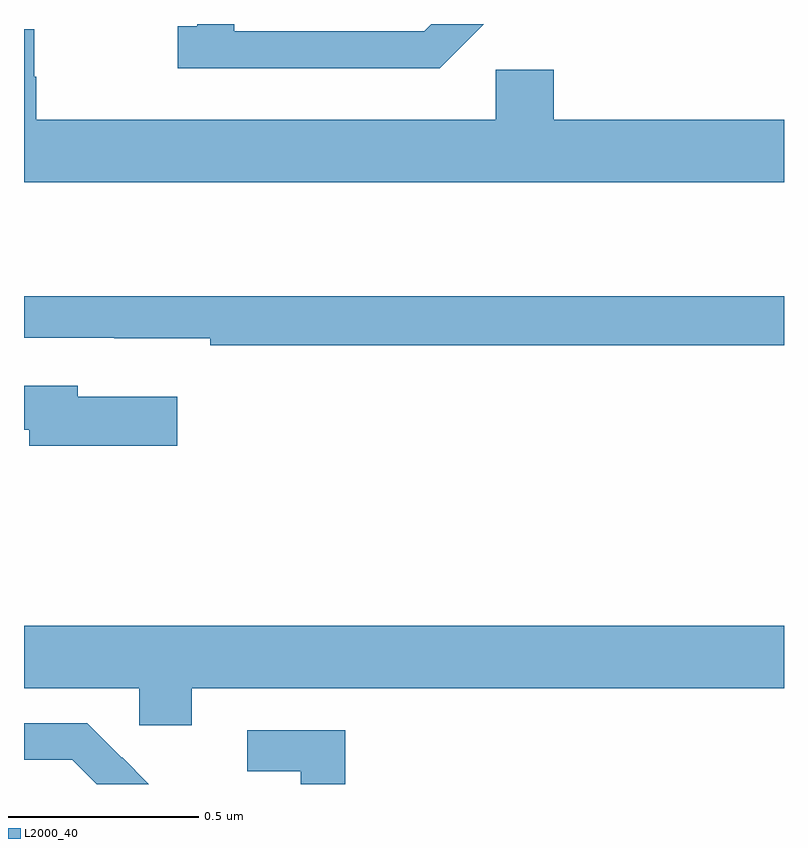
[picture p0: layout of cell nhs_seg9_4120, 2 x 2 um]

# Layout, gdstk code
import gdstk
lib = gdstk.Library(unit=1e-6, precision=1e-09)
def P(c, l, *ps):  # polygons
    for p in ps: c.add(gdstk.Polygon(p, *l))
L2000_40 = (2000, 40)

nhs_seg9_4120 = lib.new_cell('nhs_seg9_4120')
P(nhs_seg9_4120, L2000_40, [(163.21,1199.5),(163.072,1199.5),(163.053,1199.481),(162.553,1199.481),(162.553,1199.5),(162.456,1199.5),(162.456,1199.494),(162.405,1199.494),(162.405,1199.384),(163.094,1199.384)],
  [(164,1199.248),(163.394,1199.248),(163.394,1199.38),(163.242,1199.38),(163.242,1199.248),(162.032,1199.248),(162.032,1199.361),(162.027,1199.361),(162.027,1199.486),(162,1199.486),(162,1199.084),(164,1199.084)],
  [(164,1198.783),(162,1198.783),(162,1198.674),(162.238,1198.674),(162.238,1198.673),(162.49,1198.673),(162.49,1198.654),(164,1198.654)],
  [(162.403,1198.519),(162.142,1198.519),(162.142,1198.548),(162,1198.548),(162,1198.432),(162.014,1198.432),(162.014,1198.39),(162.403,1198.39)],
  [(162.442,1197.752),(164,1197.752),(164,1197.916),(162,1197.916),(162,1197.752),(162.303,1197.752),(162.303,1197.654),(162.442,1197.654)],
  [(162.258,1197.57),(162.257,1197.569),(162.166,1197.66),(162,1197.66),(162,1197.564),(162.127,1197.564),(162.191,1197.5),(162.328,1197.5)],
  [(162.845,1197.642),(162.588,1197.642),(162.588,1197.534),(162.728,1197.534),(162.728,1197.5),(162.845,1197.5)])

lib.write_gds('nhs_seg9_4120.gds')
